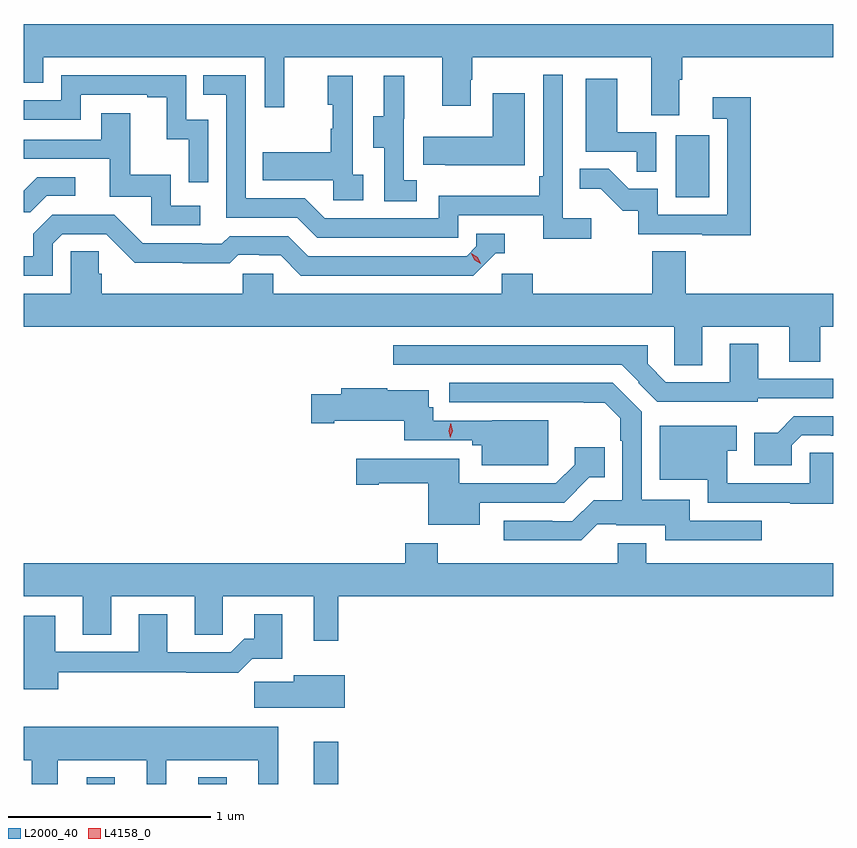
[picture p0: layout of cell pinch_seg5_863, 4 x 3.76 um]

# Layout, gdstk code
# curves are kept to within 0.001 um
import gdstk
lib = gdstk.Library(unit=1e-6, precision=1e-09)
def R(c, l, rs):  # rectangles x0, y0, x1, y1
    for r in rs: c.add(gdstk.rectangle(r[:2], r[2:], *l))
def P(c, l, *ps):  # polygons
    for p in ps: c.add(gdstk.Polygon(p, *l))
L2000_40 = (2000, 40)
L4158_0 = (4158, 0)

pinch_seg5_863 = lib.new_cell('pinch_seg5_863')
R(pinch_seg5_863, L2000_40, [(825.785,882.472,825.925,882.505), (826.337,882.472,826.477,882.505), (826.907,882.472,827.029,882.682), (828.698,885.372,828.862,885.679)])
P(pinch_seg5_863, L2000_40, [(828.715,885.952),(828.728,885.952),(828.728,886.064),(829.475,886.064),(829.475,886.228),(825.475,886.228),(825.475,885.937),(825.57,885.937),(825.57,886.064),(826.665,886.064),(826.665,885.816),(826.763,885.816),(826.763,886.064),(827.543,886.064),(827.543,885.825),(827.683,885.825),(827.683,885.953),(827.691,885.953),(827.691,886.064),(828.575,886.064),(828.575,885.778),(828.715,885.778)],
  [(828.28,885.268),(828.138,885.268),(828.138,885.976),(828.042,885.976),(828.042,885.475),(828.022,885.475),(828.022,885.379),(827.526,885.379),(827.526,885.267),(826.962,885.267),(826.863,885.366),(826.572,885.366),(826.572,885.975),(826.363,885.975),(826.363,885.879),(826.476,885.879),(826.476,885.27),(826.826,885.27),(826.925,885.171),(827.622,885.171),(827.622,885.282),(828.041,885.282),(828.041,885.166),(828.28,885.166)],
  [(826.386,885.756),(826.278,885.756),(826.278,885.975),(825.66,885.975),(825.66,885.852),(825.475,885.852),(825.475,885.756),(825.756,885.756),(825.756,885.879),(826.085,885.879),(826.085,885.867),(826.181,885.867),(826.181,885.659),(826.29,885.659),(826.29,885.447),(826.386,885.447)],
  [(827.416,885.455),(827.352,885.455),(827.352,885.759),(827.354,885.759),(827.354,885.973),(827.255,885.973),(827.255,885.771),(827.201,885.771),(827.201,885.616),(827.256,885.616),(827.256,885.352),(827.416,885.352)],
  [(827.152,885.482),(827.1,885.482),(827.1,885.973),(826.976,885.973),(826.976,885.828),(827.002,885.828),(827.002,885.71),(826.992,885.71),(826.992,885.595),(826.657,885.595),(826.657,885.455),(827.004,885.455),(827.004,885.357),(827.152,885.357)],
  [(828.6,885.693),(828.409,885.693),(828.409,885.958),(828.251,885.958),(828.251,885.597),(828.505,885.597),(828.505,885.499),(828.6,885.499)],
  [(827.95,885.886),(827.792,885.886),(827.792,885.67),(827.449,885.67),(827.449,885.533),(827.557,885.533),(827.557,885.53),(827.95,885.53)],
  [(829.067,885.865),(828.879,885.865),(828.879,885.759),(828.951,885.759),(828.951,885.285),(828.609,885.285),(828.609,885.414),(828.465,885.414),(828.367,885.512),(828.223,885.512),(828.223,885.413),(828.327,885.413),(828.434,885.306),(828.511,885.306),(828.511,885.189),(828.829,885.189),(828.829,885.184),(829.067,885.184)],
  [(826.348,885.33),(826.2,885.33),(826.2,885.484),(826.001,885.484),(826.001,885.787),(825.857,885.787),(825.857,885.657),(825.475,885.657),(825.475,885.561),(825.899,885.561),(825.899,885.375),(826.104,885.375),(826.104,885.234),(826.348,885.234)],
  [(825.588,885.378),(825.73,885.378),(825.73,885.471),(825.542,885.471),(825.475,885.404),(825.475,885.298),(825.508,885.298)],
  [(825.618,885.141),(825.666,885.189),(825.882,885.189),(826.024,885.047),(826.26,885.047),(826.26,885.045),(826.493,885.045),(826.535,885.087),(826.638,885.087),(826.638,885.084),(826.745,885.084),(826.844,884.985),(827.697,884.985),(827.808,885.096),(827.851,885.096),(827.851,885.192),(827.712,885.192),(827.712,885.129),(827.664,885.081),(826.881,885.081),(826.782,885.18),(826.493,885.18),(826.454,885.141),(826.355,885.141),(826.355,885.144),(826.062,885.144),(825.921,885.285),(825.615,885.285),(825.521,885.191),(825.521,885.081),(825.475,885.081),(825.475,884.985),(825.618,884.985)],
  [(828.829,884.732),(829.259,884.732),(829.259,884.56),(829.412,884.56),(829.412,884.732),(829.475,884.732),(829.475,884.896),(828.746,884.896),(828.746,885.104),(828.581,885.104),(828.581,884.896),(827.99,884.896),(827.99,884.994),(827.838,884.994),(827.838,884.896),(826.707,884.896),(826.707,884.994),(826.557,884.994),(826.557,884.896),(825.86,884.896),(825.86,884.994),(825.845,884.994),(825.845,885.104),(825.708,885.104),(825.708,884.896),(825.475,884.896),(825.475,884.732),(828.69,884.732),(828.69,884.542),(828.829,884.542)],
  [(829.101,884.379),(829.475,884.379),(829.475,884.475),(829.105,884.475),(829.105,884.647),(828.965,884.647),(828.965,884.457),(828.648,884.457),(828.558,884.548),(828.558,884.64),(827.301,884.64),(827.301,884.544),(828.429,884.544),(828.514,884.459),(828.511,884.456),(828.606,884.361),(829.101,884.361)],
  [(828.309,883.755),(828.403,883.755),(828.403,883.751),(828.644,883.751),(828.644,883.677),(829.123,883.677),(829.123,883.773),(828.766,883.773),(828.766,883.876),(828.528,883.876),(828.528,884.311),(828.385,884.454),(827.577,884.454),(827.577,884.359),(828.242,884.358),(828.242,884.356),(828.346,884.356),(828.422,884.28),(828.422,884.168),(828.432,884.168),(828.432,883.875),(828.291,883.875),(828.186,883.77),(828.086,883.77),(828.086,883.773),(827.847,883.773),(827.847,883.676),(828.23,883.676)],
  [(828.067,884.269),(827.791,884.269),(827.791,884.268),(827.499,884.268),(827.499,884.334),(827.476,884.334),(827.476,884.419),(827.27,884.419),(827.27,884.427),(827.045,884.427),(827.045,884.397),(826.896,884.397),(826.896,884.255),(827.008,884.255),(827.008,884.267),(827.354,884.267),(827.354,884.172),(827.691,884.172),(827.691,884.147),(827.738,884.147),(827.738,884.048),(828.067,884.048)],
  [(829.27,884.146),(829.32,884.196),(829.462,884.196),(829.462,884.193),(829.475,884.193),(829.475,884.289),(829.28,884.289),(829.2,884.209),(829.084,884.209),(829.084,884.048),(829.27,884.048)],
  [(829.475,884.108),(829.359,884.108),(829.359,883.959),(828.952,883.959),(828.952,884.12),(828.999,884.12),(828.999,884.242),(828.617,884.242),(828.617,883.976),(828.855,883.976),(828.855,883.863),(829.262,883.863),(829.262,883.858),(829.475,883.858)],
  [(827.728,883.863),(828.145,883.863),(828.27,883.988),(828.347,883.988),(828.347,884.137),(828.197,884.137),(828.197,884.051),(828.105,883.959),(827.626,883.959),(827.626,884.08),(827.118,884.08),(827.118,883.951),(827.23,883.951),(827.23,883.958),(827.474,883.958),(827.474,883.754),(827.728,883.754)],
  [(827.029,883.4),(829.475,883.4),(829.475,883.564),(828.55,883.564),(828.55,883.663),(828.41,883.663),(828.41,883.564),(827.52,883.564),(827.52,883.663),(827.36,883.663),(827.36,883.564),(825.475,883.564),(825.475,883.4),(825.767,883.4),(825.767,883.21),(825.907,883.21),(825.907,883.4),(826.319,883.4),(826.319,883.21),(826.458,883.21),(826.458,883.4),(826.907,883.4),(826.907,883.179),(827.029,883.179)],
  [(825.644,883.024),(826.279,883.024),(826.279,883.022),(826.535,883.022),(826.604,883.091),(826.753,883.091),(826.753,883.312),(826.613,883.312),(826.613,883.189),(826.564,883.189),(826.497,883.122),(826.183,883.122),(826.183,883.312),(826.043,883.312),(826.043,883.125),(825.631,883.125),(825.631,883.303),(825.475,883.303),(825.475,882.941),(825.644,882.941)],
  [(827.062,883.009),(826.808,883.009),(826.808,882.977),(826.614,882.977),(826.614,882.848),(827.062,882.848)],
  [(825.643,882.59),(826.082,882.59),(826.082,882.472),(826.18,882.472),(826.18,882.59),(826.634,882.59),(826.634,882.472),(826.732,882.472),(826.732,882.754),(825.475,882.754),(825.475,882.59),(825.515,882.59),(825.515,882.472),(825.643,882.472)])
P(pinch_seg5_863, L4158_0, [(827.734,885.042),(827.703,885.061),(827.686,885.093),(827.686,885.094),(827.686,885.094),(827.718,885.075),(827.734,885.042),(827.734,885.042)],
  [(827.583,884.183),(827.583,884.183),(827.574,884.219),(827.584,884.255),(827.584,884.255),(827.585,884.255),(827.594,884.219),(827.583,884.183)])

lib.write_gds('pinch_seg5_863.gds')
